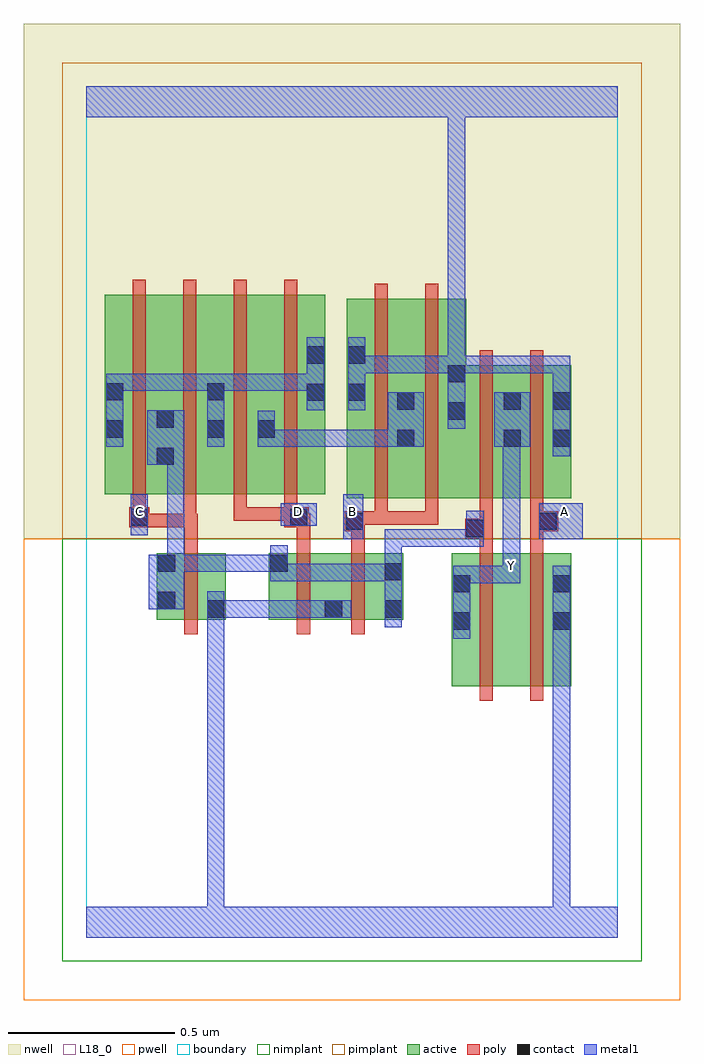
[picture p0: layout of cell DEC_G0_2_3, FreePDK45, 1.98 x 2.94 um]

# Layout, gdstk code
import gdstk
lib = gdstk.Library(unit=1e-6, precision=1e-09)
def R(c, l, rs):  # rectangles x0, y0, x1, y1
    for r in rs: c.add(gdstk.rectangle(r[:2], r[2:], *l))
def A(c, l, x, y, w, h, nx, ny, dx, dy):  # array of equal rectangles
    R(c, l, [(x+i*dx, y+j*dy, x+i*dx+w, y+j*dy+h) for i in range(nx) for j in range(ny)])
active = (1, 0)
pwell = (2, 0)
nwell = (3, 0)
nimplant = (4, 0)
pimplant = (5, 0)
poly = (9, 0)
contact = (10, 0)
metal1 = (11, 0)
L18_0 = (18, 0)
boundary = (235, 0)

dec_g0_2_3 = lib.new_cell('DEC_G0_2_3')
A(dec_g0_2_3, active, 0.056, 1.334, 0.212, 0.6, 3, 1, 0.152, 0)
R(dec_g0_2_3, active, [(1.1,0.756,1.16,1.156), (1.1,0.756,1.28,1.156), (1.28,0.756,1.46,1.156), (1.4,0.756,1.46,1.156), (0.212,0.956,0.272,1.156), (0.212,0.956,0.42,1.156), (0.36,0.956,0.42,1.156), (0.55,0.956,0.61,1.156), (0.55,0.956,0.774,1.156), (0.714,0.956,0.774,1.156), (0.714,0.956,0.954,1.156), (0.894,0.956,0.954,1.156), (0.784,1.322,0.992,1.922), (0.784,1.322,0.844,1.844), (0.932,1.322,1.144,1.922), (1.084,1.322,1.312,1.722), (1.252,1.322,1.46,1.722), (1.4,1.322,1.46,1.722), (0.056,1.334,0.116,1.844), (0.512,1.334,0.72,1.934), (0.66,1.334,0.72,1.844), (1.084,1.362,1.144,1.922), (0.208,1.418,0.268,1.844), (0.932,1.472,0.992,1.844), (1.252,1.472,1.312,1.644), (0.36,1.5,0.42,1.844), (0.512,1.5,0.572,1.844)])
R(dec_g0_2_3, pwell, [(-0.188,-0.188,1.788,1.2)])
R(dec_g0_2_3, nwell, [(-0.188,1.2,1.788,2.748)])
R(dec_g0_2_3, nimplant, [(-0.072,-0.072,1.672,1.2)])
R(dec_g0_2_3, pimplant, [(-0.072,1.2,1.672,2.632)])
A(dec_g0_2_3, poly, 0.14, 1.29, 0.04, 0.688, 4, 1, 0.152, 0)
R(dec_g0_2_3, poly, [(1.184,0.712,1.224,1.2), (1.336,0.712,1.376,1.2), (0.296,0.912,0.336,1.2), (0.634,0.912,0.674,1.2), (0.798,0.912,0.838,1.2), (0.296,1.16,0.336,1.274), (0.634,1.16,0.674,1.274), (0.798,1.16,0.838,1.262), (1.184,1.16,1.224,1.24), (1.336,1.16,1.376,1.262), (1.14,1.2,1.224,1.26), (1.184,1.22,1.224,1.26), (1.184,1.22,1.224,1.26), (1.184,1.22,1.224,1.318), (0.778,1.222,0.838,1.282), (1.336,1.222,1.376,1.262), (1.336,1.222,1.376,1.262), (1.336,1.222,1.42,1.282), (0.13,1.234,0.19,1.294), (0.15,1.234,0.19,1.274), (0.15,1.234,0.19,1.274), (0.15,1.234,0.332,1.274), (0.292,1.234,0.332,1.274), (0.292,1.234,0.332,1.274), (0.292,1.234,0.336,1.274), (0.292,1.234,0.332,1.33), (0.596,1.234,0.67,1.294), (0.63,1.234,0.67,1.274), (0.63,1.234,0.674,1.274), (0.798,1.242,0.838,1.282), (0.798,1.242,0.908,1.282), (0.868,1.242,0.908,1.318), (0.868,1.242,0.908,1.282), (0.868,1.242,0.908,1.282), (0.868,1.242,1.06,1.282), (1.02,1.242,1.06,1.318), (1.02,1.242,1.06,1.282), (1.336,1.242,1.376,1.318), (0.14,1.254,0.18,1.33), (0.444,1.254,0.484,1.33), (0.444,1.254,0.484,1.294), (0.444,1.254,0.636,1.294), (0.596,1.254,0.636,1.33), (0.596,1.254,0.636,1.294), (0.596,1.254,0.636,1.294), (0.868,1.278,0.908,1.966), (1.02,1.278,1.06,1.966), (1.184,1.278,1.224,1.766), (1.336,1.278,1.376,1.766)])
R(dec_g0_2_3, contact, [(1.104,0.926,1.156,0.978), (1.404,0.926,1.456,0.978), (0.364,0.962,0.416,1.014), (0.718,0.962,0.77,1.014), (0.898,0.962,0.95,1.014), (0.216,0.988,0.268,1.04), (1.104,1.038,1.156,1.09), (1.404,1.038,1.456,1.09), (0.898,1.074,0.95,1.126), (0.216,1.1,0.268,1.152), (0.554,1.1,0.606,1.152), (1.144,1.204,1.196,1.256), (0.782,1.226,0.834,1.278), (1.364,1.226,1.416,1.278), (0.134,1.238,0.186,1.29), (0.614,1.238,0.666,1.29), (0.212,1.422,0.264,1.474), (0.936,1.476,0.988,1.528), (1.256,1.476,1.308,1.528), (1.404,1.476,1.456,1.528), (0.06,1.504,0.112,1.556), (0.364,1.504,0.416,1.556), (0.516,1.504,0.568,1.556), (0.212,1.534,0.264,1.586), (1.088,1.558,1.14,1.61), (0.936,1.588,0.988,1.64), (1.256,1.588,1.308,1.64), (1.404,1.588,1.456,1.64), (0.664,1.614,0.716,1.666), (0.788,1.614,0.84,1.666), (0.06,1.616,0.112,1.668), (0.364,1.616,0.416,1.668), (1.088,1.67,1.14,1.722), (0.664,1.726,0.716,1.778), (0.788,1.726,0.84,1.778)])
R(dec_g0_2_3, metal1, [(0,0,1.6,0.092), (0.364,0.04,0.416,0.092), (0.364,0.04,0.416,0.092), (0.364,0.04,0.416,0.092), (0.364,0.04,0.416,0.092), (0.364,0.04,0.416,0.092), (0.364,0.04,0.416,0.092), (0.364,0.04,0.416,0.986), (1.404,0.04,1.456,0.092), (1.404,0.04,1.456,0.092), (1.404,0.04,1.456,0.95), (1.104,0.898,1.156,1.118), (1.404,0.898,1.456,0.95), (1.404,0.898,1.456,0.95), (1.404,0.898,1.456,0.95), (1.404,0.898,1.456,0.95), (1.404,0.898,1.456,0.95), (1.404,0.898,1.456,0.95), (1.404,0.898,1.456,0.95), (1.404,0.898,1.456,0.95), (1.404,0.898,1.456,0.95), (1.404,0.898,1.456,0.95), (1.404,0.898,1.456,1.118), (0.364,0.934,0.416,0.986), (0.364,0.934,0.416,0.986), (0.364,0.934,0.416,0.986), (0.364,0.934,0.416,0.986), (0.364,0.934,0.416,0.986), (0.364,0.934,0.416,0.986), (0.364,0.934,0.416,0.986), (0.364,0.934,0.416,0.986), (0.364,0.934,0.416,0.986), (0.364,0.934,0.416,0.986), (0.364,0.934,0.416,1.042), (0.898,0.934,0.95,1.154), (0.364,0.962,0.416,1.014), (0.364,0.962,0.416,1.014), (0.364,0.962,0.606,1.014), (0.554,0.962,0.606,1.014), (0.554,0.962,0.606,1.014), (0.554,0.962,0.606,1.014), (0.554,0.962,0.742,1.014), (0.69,0.962,0.798,1.014), (0.188,0.988,0.296,1.152), (1.104,1.066,1.156,1.118), (1.104,1.066,1.156,1.118), (1.104,1.066,1.306,1.118), (1.254,1.066,1.306,1.118), (1.254,1.066,1.306,1.118), (1.254,1.066,1.306,1.174), (0.554,1.072,0.606,1.124), (0.554,1.072,0.606,1.124), (0.554,1.072,0.606,1.18), (0.554,1.072,0.716,1.124), (0.664,1.072,0.716,1.124), (0.664,1.072,0.716,1.124), (0.664,1.072,0.716,1.124), (0.664,1.072,0.826,1.124), (0.774,1.072,0.826,1.124), (0.774,1.072,0.95,1.124), (0.244,1.1,0.296,1.152), (0.244,1.1,0.296,1.152), (0.244,1.1,0.296,1.152), (0.244,1.1,0.296,1.152), (0.244,1.1,0.416,1.152), (0.244,1.1,0.296,1.474), (0.364,1.1,0.416,1.152), (0.364,1.1,0.416,1.152), (0.364,1.1,0.416,1.152), (0.364,1.1,0.606,1.152), (0.898,1.102,0.95,1.228), (1.254,1.122,1.306,1.174), (1.254,1.122,1.306,1.174), (1.254,1.122,1.306,1.528), (0.898,1.176,0.95,1.228), (0.898,1.176,0.95,1.228), (0.898,1.176,0.95,1.228), (0.898,1.176,1.166,1.228), (1.114,1.176,1.166,1.228), (1.114,1.176,1.196,1.228), (1.144,1.176,1.196,1.284), (0.774,1.198,0.834,1.334), (1.364,1.198,1.494,1.306), (0.134,1.21,0.186,1.334), (0.586,1.238,0.694,1.306), (0.184,1.422,0.296,1.586), (0.244,1.422,0.296,1.474), (0.244,1.422,0.296,1.474), (1.404,1.448,1.456,1.668), (0.06,1.476,0.112,1.696), (0.364,1.476,0.416,1.696), (0.516,1.476,0.568,1.584), (0.516,1.476,0.606,1.528), (0.554,1.476,0.606,1.528), (0.554,1.476,0.716,1.528), (0.664,1.476,0.716,1.528), (0.664,1.476,0.716,1.528), (0.664,1.476,0.716,1.528), (0.664,1.476,0.826,1.528), (0.774,1.476,0.826,1.528), (0.774,1.476,0.96,1.528), (0.908,1.476,1.016,1.64), (1.228,1.476,1.336,1.64), (1.088,1.53,1.14,1.75), (0.664,1.586,0.716,1.806), (0.788,1.586,0.84,1.806), (1.404,1.616,1.456,1.75), (0.06,1.644,0.112,1.696), (0.06,1.644,0.112,1.696), (0.06,1.644,0.306,1.696), (0.254,1.644,0.306,1.696), (0.254,1.644,0.306,1.696), (0.254,1.644,0.306,1.696), (0.254,1.644,0.416,1.696), (0.364,1.644,0.416,1.696), (0.364,1.644,0.416,1.696), (0.364,1.644,0.606,1.696), (0.554,1.644,0.606,1.696), (0.554,1.644,0.606,1.696), (0.554,1.644,0.606,1.696), (0.554,1.644,0.716,1.696), (0.788,1.698,0.84,1.75), (0.788,1.698,0.84,1.75), (0.788,1.698,1.03,1.75), (0.978,1.698,1.03,1.75), (0.978,1.698,1.03,1.75), (0.978,1.698,1.03,1.75), (0.978,1.698,1.14,1.75), (1.088,1.698,1.14,1.75), (1.088,1.698,1.14,1.75), (1.088,1.698,1.14,1.75), (1.088,1.698,1.14,1.75), (1.088,1.698,1.14,1.75), (1.088,1.698,1.14,1.75), (1.088,1.698,1.14,1.75), (1.088,1.698,1.14,1.75), (1.088,1.698,1.14,1.75), (1.088,1.698,1.14,1.75), (1.088,1.698,1.306,1.75), (1.088,1.698,1.14,2.52), (1.254,1.698,1.306,1.75), (1.254,1.698,1.306,1.75), (1.254,1.698,1.306,1.75), (1.254,1.698,1.306,1.75), (1.254,1.698,1.306,1.75), (1.254,1.698,1.456,1.75), (1.404,1.698,1.456,1.75), (1.404,1.698,1.456,1.75), (1.404,1.698,1.456,1.75), (0,2.468,1.6,2.56), (1.088,2.468,1.14,2.52), (1.088,2.468,1.14,2.52)])
A(dec_g0_2_3, L18_0, 1.254, 1.066, 0.052, 0.052, 1, 3, 0, 0.028)
R(dec_g0_2_3, L18_0, [(0,0,1.6,0.092), (0.364,0.04,0.416,0.092), (0.364,0.04,0.416,0.092), (0.364,0.04,0.416,0.092), (0.364,0.04,0.416,0.092), (0.364,0.04,0.416,0.092), (0.364,0.04,0.416,0.092), (0.364,0.04,0.416,0.986), (1.404,0.04,1.456,0.092), (1.404,0.04,1.456,0.092), (1.404,0.04,1.456,0.95), (1.104,0.898,1.156,1.118), (1.404,0.898,1.456,0.95), (1.404,0.898,1.456,0.95), (1.404,0.898,1.456,0.95), (1.404,0.898,1.456,0.95), (1.404,0.898,1.456,0.95), (1.404,0.898,1.456,0.95), (1.404,0.898,1.456,0.95), (1.404,0.898,1.456,0.95), (1.404,0.898,1.456,0.95), (1.404,0.898,1.456,0.95), (1.404,0.898,1.456,1.118), (0.364,0.934,0.416,0.986), (0.364,0.934,0.416,0.986), (0.364,0.934,0.416,0.986), (0.364,0.934,0.416,0.986), (0.364,0.934,0.416,0.986), (0.364,0.934,0.416,0.986), (0.364,0.934,0.416,0.986), (0.364,0.934,0.416,0.986), (0.364,0.934,0.416,0.986), (0.364,0.934,0.416,0.986), (0.364,0.934,0.416,1.042), (0.364,0.962,0.416,1.014), (0.364,0.962,0.416,1.014), (0.364,0.962,0.606,1.014), (0.554,0.962,0.606,1.014), (0.554,0.962,0.606,1.014), (0.554,0.962,0.606,1.014), (0.554,0.962,0.742,1.014), (0.69,0.962,0.798,1.014), (1.104,1.066,1.156,1.118), (1.104,1.066,1.156,1.118), (1.104,1.066,1.306,1.118), (1.254,1.066,1.306,1.118), (1.254,1.066,1.306,1.174), (1.254,1.122,1.306,1.174), (1.254,1.122,1.306,1.528), (0.774,1.198,0.834,1.334), (1.364,1.198,1.494,1.306), (0.134,1.21,0.186,1.334), (0.586,1.238,0.694,1.306), (0.134,1.254,0.186,1.306), (0.614,1.254,0.666,1.306), (0.774,1.254,0.826,1.306), (1.414,1.254,1.466,1.306), (1.404,1.448,1.456,1.668), (1.228,1.476,1.336,1.64), (1.088,1.53,1.14,1.75), (0.788,1.586,0.84,1.806), (1.404,1.616,1.456,1.75), (0.788,1.698,0.84,1.75), (0.788,1.698,0.84,1.75), (0.788,1.698,1.03,1.75), (0.978,1.698,1.03,1.75), (0.978,1.698,1.03,1.75), (0.978,1.698,1.03,1.75), (0.978,1.698,1.14,1.75), (1.088,1.698,1.14,1.75), (1.088,1.698,1.14,1.75), (1.088,1.698,1.14,1.75), (1.088,1.698,1.14,1.75), (1.088,1.698,1.14,1.75), (1.088,1.698,1.14,1.75), (1.088,1.698,1.14,1.75), (1.088,1.698,1.14,1.75), (1.088,1.698,1.14,1.75), (1.088,1.698,1.14,1.75), (1.088,1.698,1.14,2.52), (1.088,1.698,1.306,1.75), (1.254,1.698,1.306,1.75), (1.254,1.698,1.306,1.75), (1.254,1.698,1.306,1.75), (1.254,1.698,1.306,1.75), (1.254,1.698,1.306,1.75), (1.254,1.698,1.456,1.75), (1.404,1.698,1.456,1.75), (1.404,1.698,1.456,1.75), (1.404,1.698,1.456,1.75), (0,2.468,1.6,2.56), (1.088,2.468,1.14,2.52), (1.088,2.468,1.14,2.52)])
R(dec_g0_2_3, boundary, [(0,0,1.6,2.56)])
dec_g0_2_3.add(gdstk.Label('A', (1.44,1.28), layer=11, texttype=0))
dec_g0_2_3.add(gdstk.Label('B', (0.8,1.28), layer=11, texttype=0))
dec_g0_2_3.add(gdstk.Label('C', (0.16,1.28), layer=11, texttype=0))
dec_g0_2_3.add(gdstk.Label('D', (0.64,1.28), layer=11, texttype=0))
dec_g0_2_3.add(gdstk.Label('Y', (1.28,1.12), layer=11, texttype=0))

lib.write_gds('DEC_G0_2_3.gds')
